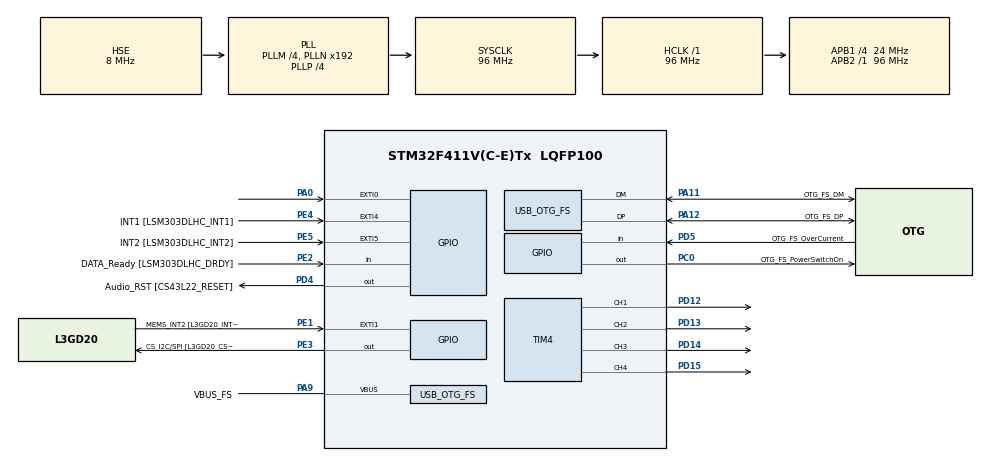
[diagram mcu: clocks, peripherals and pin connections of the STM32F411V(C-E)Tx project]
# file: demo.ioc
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Mcu.Family=STM32F4
Mcu.Name=STM32F411V(C-E)Tx
Mcu.Package=LQFP100
NVIC.OTG_FS_IRQn=true\:0\:0\:false\:false\:true\:true\:true\:true
NVIC.PriorityGroup=NVIC_PRIORITYGROUP_0
PA0-WKUP.GPIO_ModeDefaultEXTI=GPIO_MODE_EVT_RISING
PA0-WKUP.Signal=GPXTI0
PA10.GPIO_Label=OTG_FS_ID
PA10.Signal=USB_OTG_FS_ID
PA11.GPIO_Label=OTG_FS_DM
PA11.Mode=Host_Only
PA11.Signal=USB_OTG_FS_DM
PA12.GPIO_Label=OTG_FS_DP
PA12.Mode=Host_Only
PA12.Signal=USB_OTG_FS_DP
PA13.GPIO_Label=SWDIO
PA13.Mode=Serial_Wire
PA13.Signal=SYS_JTMS-SWDIO
PA14.GPIO_Label=SWCLK
PA14.Mode=Serial_Wire
PA14.Signal=SYS_JTCK-SWCLK
PA4.GPIO_Label=I2S3_WS [CS43L22_LRCK]
PA4.GPIO_Mode=GPIO_MODE_AF_PP
PA4.GPIO_PuPd=GPIO_NOPULL
PA4.GPIO_Speed=GPIO_SPEED_FREQ_LOW
PA4.Signal=I2S3_WS
PA5.GPIO_Label=SPI1_SCK [L3GD20_SC/SPC]
PA5.Signal=SPI1_SCK
PA6.GPIO_Label=SPI1_MISO [L3GD20_AS0/SDO]
PA6.Signal=SPI1_MISO
PA7.GPIO_Label=SPI1_MOSI [L3GD20_SDA/SDI/SDO]
PA7.Signal=SPI1_MOSI
PA9.GPIO_Label=VBUS_FS
PA9.Mode=Activate_VBUS
PA9.Signal=USB_OTG_FS_VBUS
PB10.GPIO_Label=CLK_IN [MP45DT02_CLK]
PB10.Signal=I2S2_CK
PB12.Signal=I2S2_WS
PB3.GPIO_Label=SWO
PB3.Signal=SYS_JTDO-SWO
PB6.GPIO_Label=Audio_SCL [CS43L22_SCL]
PB6.GPIO_Mode=GPIO_MODE_AF_OD
PB6.GPIO_Pu=GPIO_PULLUP
PB6.GPIO_PuPd=GPIO_NOPULL
PB6.GPIO_Speed=GPIO_SPEED_FREQ_LOW
PB6.Signal=I2C1_SCL
PB9.GPIO_Label=Audio_SDA [CS43L22_SDA]
PB9.GPIO_Mode=GPIO_MODE_AF_OD
PB9.GPIO_Pu=GPIO_PULLUP
PB9.GPIO_PuPd=GPIO_NOPULL
PB9.GPIO_Speed=GPIO_SPEED_FREQ_LOW
PB9.Signal=I2C1_SDA
PC0.GPIO_Label=OTG_FS_PowerSwitchOn
PC0.PinState=GPIO_PIN_SET
PC0.Signal=GPIO_Output
PC10.GPIO_Label=I2S3_SCK [CS43L22_SCLK]
PC10.GPIO_Mode=GPIO_MODE_AF_PP
PC10.GPIO_PuPd=GPIO_NOPULL
PC10.GPIO_Speed=GPIO_SPEED_FREQ_LOW
PC10.Signal=I2S3_CK
PC12.GPIO_Label=I2S3_SD [CS43L22_SDIN]
PC12.GPIO_Mode=GPIO_MODE_AF_PP
PC12.GPIO_PuPd=GPIO_NOPULL
PC12.GPIO_Speed=GPIO_SPEED_FREQ_LOW
PC12.Signal=I2S3_SD
PC14-OSC32_IN.GPIO_Label=PC14-OSC32_IN
PC14-OSC32_IN.Mode=LSE-External-Oscillator
PC14-OSC32_IN.Signal=RCC_OSC32_IN
PC15-OSC32_OUT.GPIO_Label=PC15-OSC32_OUT
PC15-OSC32_OUT.Mode=LSE-External-Oscillator
PC15-OSC32_OUT.Signal=RCC_OSC32_OUT
PC3.GPIO_Label=PDM_OUT [MP45DT02_DOUT]
PC3.Signal=I2S2_SD
PC7.GPIO_Label=I2S3_MCK [CS43L22_MCLK]
PC7.GPIO_Mode=GPIO_MODE_AF_PP
PC7.GPIO_PuPd=GPIO_NOPULL
PC7.GPIO_Speed=GPIO_SPEED_FREQ_LOW
PC7.Signal=I2S3_MCK
PD12.Signal=S_TIM4_CH1
PD13.Signal=S_TIM4_CH2
PD14.Signal=S_TIM4_CH3
PD15.Signal=S_TIM4_CH4
PD4.GPIO_Label=Audio_RST [CS43L22_RESET]
PD4.Signal=GPIO_Output
PD5.GPIO_Label=OTG_FS_OverCurrent
PD5.Signal=GPIO_Input
PE1.GPIO_Label=MEMS_INT2 [L3GD20_INT2]
PE1.GPIO_ModeDefaultEXTI=GPIO_MODE_EVT_RISING
PE1.Signal=GPXTI1
PE2.GPIO_Label=DATA_Ready [LSM303DLHC_DRDY]
PE2.Signal=GPIO_Input
PE3.GPIO_Label=CS_I2C/SPI [L3GD20_CS_I2C/SPI]
PE3.Signal=GPIO_Output
PE4.GPIO_Label=INT1 [LSM303DLHC_INT1]
PE4.GPIO_ModeDefaultEXTI=GPIO_MODE_EVT_RISING
PE4.Signal=GPXTI4
PE5.GPIO_Label=INT2 [LSM303DLHC_INT2]
PE5.GPIO_ModeDefaultEXTI=GPIO_MODE_EVT_RISING
PE5.Signal=GPXTI5
PH0\ -\ OSC_IN.GPIO_Label=PH0-OSC_IN
PH0\ -\ OSC_IN.Mode=HSE-External-Oscillator
PH0\ -\ OSC_IN.Signal=RCC_OSC_IN
PH1\ -\ OSC_OUT.GPIO_Label=PH1-OSC_OUT
PH1\ -\ OSC_OUT.Mode=HSE-External-Oscillator
PH1\ -\ OSC_OUT.Signal=RCC_OSC_OUT
ProjectManager.HeapSize=0x200
ProjectManager.StackSize=0x400
ProjectManager.TargetToolchain=STM32CubeIDE
RCC.48MHZClocksFreq_Value=48000000
RCC.AHBFreq_Value=96000000
RCC.APB1CLKDivider=RCC_HCLK_DIV4
RCC.APB1Freq_Value=24000000
RCC.APB1TimFreq_Value=48000000
RCC.APB2Freq_Value=96000000
RCC.APB2TimFreq_Value=96000000
RCC.CortexFreq_Value=96000000
RCC.HCLKFreq_Value=96000000
RCC.HSE_VALUE=8000000
RCC.HSI_VALUE=16000000
RCC.PLLI2SM=5
RCC.PLLI2SN=200
RCC.PLLM=4
RCC.PLLP=RCC_PLLP_DIV4
RCC.PLLQ=8
RCC.SYSCLKFreq_VALUE=96000000
RCC.SYSCLKSource=RCC_SYSCLKSOURCE_PLLCLK
RCC.VCOOutputFreq_Value=384000000
SH.S_TIM4_CH1.0=TIM4_CH1,PWM Generation1 CH1
SH.S_TIM4_CH2.0=TIM4_CH2,PWM Generation2 CH2
SH.S_TIM4_CH3.0=TIM4_CH3,PWM Generation3 CH3
SH.S_TIM4_CH4.0=TIM4_CH4,PWM Generation4 CH4
TIM4.Channel-PWM\ Generation1\ CH1=TIM_CHANNEL_1
TIM4.Channel-PWM\ Generation2\ CH2=TIM_CHANNEL_2
TIM4.Channel-PWM\ Generation3\ CH3=TIM_CHANNEL_3
TIM4.Channel-PWM\ Generation4\ CH4=TIM_CHANNEL_4
USB_HOST.BSP.number=1
USB_HOST.USBH_HandleTypeDef=hUsbHostFS
USB_HOST.VirtualModeFS=Cdc
USB_HOST0.BSP.STBoard=false
USB_HOST0.BSP.api=Unknown
USB_HOST0.BSP.instance=PC0
USB_HOST0.BSP.ip=GPIO
USB_HOST0.BSP.mode=Output
USB_HOST0.BSP.name=Drive_VBUS_FS
USB_HOST0.BSP.solution=PC0
USB_OTG_FS.VirtualMode=Host_Only
USB_OTG_FS.phy_itface=HCD_PHY_EMBEDDED
VP_USB_HOST_VS_USB_HOST_CDC_FS.Mode=CDC_FS
board=STM32F411E-DISCO

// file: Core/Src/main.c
/* USER CODE BEGIN Header */
/**
  ******************************************************************************
  * @file           : main.c
  * @brief          : Main program body
  ******************************************************************************
  * @attention
  *
  * Copyright (c) 2025 STMicroelectronics.
  * All rights reserved.
  *
  * This software is licensed under terms that can be found in the LICENSE file
  * in the root directory of this software component.
  * If no LICENSE file comes with this software, it is provided AS-IS.
  *
  ******************************************************************************
  */
/* USER CODE END Header */
#include "main.h"
#include "usb_host.h"

TIM_HandleTypeDef htim4;

void SystemClock_Config(void);
static void MX_GPIO_Init(void);
static void MX_TIM4_Init(void);
void MX_USB_HOST_Process(void);

int main(void)
{

  /* MCU Configuration--------------------------------------------------------*/

  /* Reset of all peripherals, Initializes the Flash interface and the Systick. */
  HAL_Init();

  /* Configure the system clock */
  SystemClock_Config();

  /* Initialize all configured peripherals */
  MX_GPIO_Init();
  MX_USB_HOST_Init();
  MX_TIM4_Init();
  /* USER CODE BEGIN 2 */

  HAL_TIM_PWM_Start(&htim4, TIM_CHANNEL_1);
  HAL_TIM_PWM_Start(&htim4, TIM_CHANNEL_2);
  HAL_TIM_PWM_Start(&htim4, TIM_CHANNEL_3);
  HAL_TIM_PWM_Start(&htim4, TIM_CHANNEL_4);

  /* USER CODE END 2 */

  /* Infinite loop */
  /* USER CODE BEGIN WHILE */
  while (1)
  {
	    MX_USB_HOST_Process();
//	    HAL_GPIO_TogglePin(GPIOD, LD4_Pin|LD5_Pin|LD6_Pin|LD3_Pin);
//	    HAL_GPIO_WritePin(GPIOD, LD4_Pin, 0);
//	    HAL_GPIO_WritePin(GPIOD, LD3_Pin, 1);
//	    HAL_Delay(70);
//	    HAL_GPIO_WritePin(GPIOD, LD3_Pin, 0);
//	    HAL_GPIO_WritePin(GPIOD, LD5_Pin, 1);
//	    HAL_Delay(70);
//	    HAL_GPIO_WritePin(GPIOD, LD5_Pin, 0);
//	    HAL_GPIO_WritePin(GPIOD, LD6_Pin, 1);
//	    HAL_Delay(70);
//	    HAL_GPIO_WritePin(GPIOD, LD6_Pin, 0);
//	    HAL_GPIO_WritePin(GPIOD, LD4_Pin, 1);
//	    HAL_Delay(70);
	    for(int D=0; D<=100; D++)
	    {
	    	__HAL_TIM_SET_COMPARE(&htim4, TIM_CHANNEL_1, D*400);
	    	__HAL_TIM_SET_COMPARE(&htim4, TIM_CHANNEL_4, (100-D)*400);
	    	HAL_Delay(1);
	    }
	    for(int D=0; D<=100; D++)
	    {
	    	__HAL_TIM_SET_COMPARE(&htim4, TIM_CHANNEL_2, D*400);
	    	__HAL_TIM_SET_COMPARE(&htim4, TIM_CHANNEL_1, (100-D)*400);

	    	HAL_Delay(1);
	    }
	    for(int D=0; D<=100; D++)
	    {
	    	__HAL_TIM_SET_COMPARE(&htim4, TIM_CHANNEL_3, D*400);
	    	__HAL_TIM_SET_COMPARE(&htim4, TIM_CHANNEL_2, (100-D)*400);

	    	HAL_Delay(1);
	    }
	    for(int D=0; D<=100; D++)
	    {
	    	__HAL_TIM_SET_COMPARE(&htim4, TIM_CHANNEL_4, D*400);
	    	__HAL_TIM_SET_COMPARE(&htim4, TIM_CHANNEL_3, (100-D)*400);

	    	HAL_Delay(1);
	    }
//	    for(int D=100; D>=0; D--)
//	    {
//	    	__HAL_TIM_SET_COMPARE(&htim4, TIM_CHANNEL_3, D*400);
//	    	HAL_Delay(10);
//	    }
    /* USER CODE END WHILE */
    MX_USB_HOST_Process();

  }
}

void SystemClock_Config(void)
{
  RCC_OscInitTypeDef RCC_OscInitStruct = {0};
  RCC_ClkInitTypeDef RCC_ClkInitStruct = {0};

  /** Configure the main internal regulator output voltage
  */
  __HAL_RCC_PWR_CLK_ENABLE();
  __HAL_PWR_VOLTAGESCALING_CONFIG(PWR_REGULATOR_VOLTAGE_SCALE1);

  /** Initializes the RCC Oscillators according to the specified parameters
  * in the RCC_OscInitTypeDef structure.
  */
  RCC_OscInitStruct.OscillatorType = RCC_OSCILLATORTYPE_HSE;
  RCC_OscInitStruct.HSEState = RCC_HSE_ON;
  RCC_OscInitStruct.PLL.PLLState = RCC_PLL_ON;
  RCC_OscInitStruct.PLL.PLLSource = RCC_PLLSOURCE_HSE;
  RCC_OscInitStruct.PLL.PLLM = 4;
  RCC_OscInitStruct.PLL.PLLN = 192;
  RCC_OscInitStruct.PLL.PLLP = RCC_PLLP_DIV4;
  RCC_OscInitStruct.PLL.PLLQ = 8;
  if (HAL_RCC_OscConfig(&RCC_OscInitStruct) != HAL_OK)
  {
    Error_Handler();
  }

  /** Initializes the CPU, AHB and APB buses clocks
  */
  RCC_ClkInitStruct.ClockType = RCC_CLOCKTYPE_HCLK|RCC_CLOCKTYPE_SYSCLK
                              |RCC_CLOCKTYPE_PCLK1|RCC_CLOCKTYPE_PCLK2;
  RCC_ClkInitStruct.SYSCLKSource = RCC_SYSCLKSOURCE_PLLCLK;
  RCC_ClkInitStruct.AHBCLKDivider = RCC_SYSCLK_DIV1;
  RCC_ClkInitStruct.APB1CLKDivider = RCC_HCLK_DIV4;
  RCC_ClkInitStruct.APB2CLKDivider = RCC_HCLK_DIV1;

  if (HAL_RCC_ClockConfig(&RCC_ClkInitStruct, FLASH_LATENCY_3) != HAL_OK)
  {
    Error_Handler();
  }
}

static void MX_TIM4_Init(void)
{

  TIM_MasterConfigTypeDef sMasterConfig = {0};
  TIM_OC_InitTypeDef sConfigOC = {0};

  htim4.Instance = TIM4;
  htim4.Init.Prescaler = 0;
  htim4.Init.CounterMode = TIM_COUNTERMODE_UP;
  htim4.Init.Period = 65535;
  htim4.Init.ClockDivision = TIM_CLOCKDIVISION_DIV1;
  htim4.Init.AutoReloadPreload = TIM_AUTORELOAD_PRELOAD_DISABLE;
  if (HAL_TIM_PWM_Init(&htim4) != HAL_OK)
  {
    Error_Handler();
  }
  sMasterConfig.MasterOutputTrigger = TIM_TRGO_RESET;
  sMasterConfig.MasterSlaveMode = TIM_MASTERSLAVEMODE_DISABLE;
  if (HAL_TIMEx_MasterConfigSynchronization(&htim4, &sMasterConfig) != HAL_OK)
  {
    Error_Handler();
  }
  sConfigOC.OCMode = TIM_OCMODE_PWM1;
  sConfigOC.Pulse = 0;
  sConfigOC.OCPolarity = TIM_OCPOLARITY_HIGH;
  sConfigOC.OCFastMode = TIM_OCFAST_DISABLE;
  if (HAL_TIM_PWM_ConfigChannel(&htim4, &sConfigOC, TIM_CHANNEL_1) != HAL_OK)
  {
    Error_Handler();
  }
  if (HAL_TIM_PWM_ConfigChannel(&htim4, &sConfigOC, TIM_CHANNEL_2) != HAL_OK)
  {
    Error_Handler();
  }
  if (HAL_TIM_PWM_ConfigChannel(&htim4, &sConfigOC, TIM_CHANNEL_3) != HAL_OK)
  {
    Error_Handler();
  }
  if (HAL_TIM_PWM_ConfigChannel(&htim4, &sConfigOC, TIM_CHANNEL_4) != HAL_OK)
  {
    Error_Handler();
  }
  HAL_TIM_MspPostInit(&htim4);

}

static void MX_GPIO_Init(void)
{
  GPIO_InitTypeDef GPIO_InitStruct = {0};

  /* GPIO Ports Clock Enable */
  __HAL_RCC_GPIOE_CLK_ENABLE();
  __HAL_RCC_GPIOC_CLK_ENABLE();
  __HAL_RCC_GPIOH_CLK_ENABLE();
  __HAL_RCC_GPIOA_CLK_ENABLE();
  __HAL_RCC_GPIOB_CLK_ENABLE();
  __HAL_RCC_GPIOD_CLK_ENABLE();

  /*Configure GPIO pin Output Level */
  HAL_GPIO_WritePin(CS_I2C_SPI_GPIO_Port, CS_I2C_SPI_Pin, GPIO_PIN_RESET);

  /*Configure GPIO pin Output Level */
  HAL_GPIO_WritePin(OTG_FS_PowerSwitchOn_GPIO_Port, OTG_FS_PowerSwitchOn_Pin, GPIO_PIN_SET);

  /*Configure GPIO pin Output Level */
  HAL_GPIO_WritePin(Audio_RST_GPIO_Port, Audio_RST_Pin, GPIO_PIN_RESET);

  /*Configure GPIO pin : DATA_Ready_Pin */
  GPIO_InitStruct.Pin = DATA_Ready_Pin;
  GPIO_InitStruct.Mode = GPIO_MODE_INPUT;
  GPIO_InitStruct.Pull = GPIO_NOPULL;
  HAL_GPIO_Init(DATA_Ready_GPIO_Port, &GPIO_InitStruct);

  /*Configure GPIO pin : CS_I2C_SPI_Pin */
  GPIO_InitStruct.Pin = CS_I2C_SPI_Pin;
  GPIO_InitStruct.Mode = GPIO_MODE_OUTPUT_PP;
  GPIO_InitStruct.Pull = GPIO_NOPULL;
  GPIO_InitStruct.Speed = GPIO_SPEED_FREQ_LOW;
  HAL_GPIO_Init(CS_I2C_SPI_GPIO_Port, &GPIO_InitStruct);

  /*Configure GPIO pins : INT1_Pin INT2_Pin MEMS_INT2_Pin */
  GPIO_InitStruct.Pin = INT1_Pin|INT2_Pin|MEMS_INT2_Pin;
  GPIO_InitStruct.Mode = GPIO_MODE_EVT_RISING;
  GPIO_InitStruct.Pull = GPIO_NOPULL;
  HAL_GPIO_Init(GPIOE, &GPIO_InitStruct);

  /*Configure GPIO pin : OTG_FS_PowerSwitchOn_Pin */
  GPIO_InitStruct.Pin = OTG_FS_PowerSwitchOn_Pin;
  GPIO_InitStruct.Mode = GPIO_MODE_OUTPUT_PP;
  GPIO_InitStruct.Pull = GPIO_NOPULL;
  GPIO_InitStruct.Speed = GPIO_SPEED_FREQ_LOW;
  HAL_GPIO_Init(OTG_FS_PowerSwitchOn_GPIO_Port, &GPIO_InitStruct);

  /*Configure GPIO pin : PDM_OUT_Pin */
  GPIO_InitStruct.Pin = PDM_OUT_Pin;
  GPIO_InitStruct.Mode = GPIO_MODE_AF_PP;
  GPIO_InitStruct.Pull = GPIO_NOPULL;
  GPIO_InitStruct.Speed = GPIO_SPEED_FREQ_LOW;
  GPIO_InitStruct.Alternate = GPIO_AF5_SPI2;
  HAL_GPIO_Init(PDM_OUT_GPIO_Port, &GPIO_InitStruct);

  /*Configure GPIO pin : PA0 */
  GPIO_InitStruct.Pin = GPIO_PIN_0;
  GPIO_InitStruct.Mode = GPIO_MODE_EVT_RISING;
  GPIO_InitStruct.Pull = GPIO_NOPULL;
  HAL_GPIO_Init(GPIOA, &GPIO_InitStruct);

  /*Configure GPIO pin : I2S3_WS_Pin */
  GPIO_InitStruct.Pin = I2S3_WS_Pin;
  GPIO_InitStruct.Mode = GPIO_MODE_AF_PP;
  GPIO_InitStruct.Pull = GPIO_NOPULL;
  GPIO_InitStruct.Speed = GPIO_SPEED_FREQ_LOW;
  GPIO_InitStruct.Alternate = GPIO_AF6_SPI3;
  HAL_GPIO_Init(I2S3_WS_GPIO_Port, &GPIO_InitStruct);

  /*Configure GPIO pins : SPI1_SCK_Pin SPI1_MISO_Pin SPI1_MOSI_Pin */
  GPIO_InitStruct.Pin = SPI1_SCK_Pin|SPI1_MISO_Pin|SPI1_MOSI_Pin;
  GPIO_InitStruct.Mode = GPIO_MODE_AF_PP;
  GPIO_InitStruct.Pull = GPIO_NOPULL;
  GPIO_InitStruct.Speed = GPIO_SPEED_FREQ_VERY_HIGH;
  GPIO_InitStruct.Alternate = GPIO_AF5_SPI1;
  HAL_GPIO_Init(GPIOA, &GPIO_InitStruct);

  /*Configure GPIO pins : CLK_IN_Pin PB12 */
  GPIO_InitStruct.Pin = CLK_IN_Pin|GPIO_PIN_12;
  GPIO_InitStruct.Mode = GPIO_MODE_AF_PP;
  GPIO_InitStruct.Pull = GPIO_NOPULL;
  GPIO_InitStruct.Speed = GPIO_SPEED_FREQ_LOW;
  GPIO_InitStruct.Alternate = GPIO_AF5_SPI2;
  HAL_GPIO_Init(GPIOB, &GPIO_InitStruct);

  /*Configure GPIO pins : I2S3_MCK_Pin I2S3_SCK_Pin I2S3_SD_Pin */
  GPIO_InitStruct.Pin = I2S3_MCK_Pin|I2S3_SCK_Pin|I2S3_SD_Pin;
  GPIO_InitStruct.Mode = GPIO_MODE_AF_PP;
  GPIO_InitStruct.Pull = GPIO_NOPULL;
  GPIO_InitStruct.Speed = GPIO_SPEED_FREQ_LOW;
  GPIO_InitStruct.Alternate = GPIO_AF6_SPI3;
  HAL_GPIO_Init(GPIOC, &GPIO_InitStruct);

  /*Configure GPIO pin : Audio_RST_Pin */
  GPIO_InitStruct.Pin = Audio_RST_Pin;
  GPIO_InitStruct.Mode = GPIO_MODE_OUTPUT_PP;
  GPIO_InitStruct.Pull = GPIO_NOPULL;
  GPIO_InitStruct.Speed = GPIO_SPEED_FREQ_LOW;
  HAL_GPIO_Init(Audio_RST_GPIO_Port, &GPIO_InitStruct);

  /*Configure GPIO pin : OTG_FS_OverCurrent_Pin */
  GPIO_InitStruct.Pin = OTG_FS_OverCurrent_Pin;
  GPIO_InitStruct.Mode = GPIO_MODE_INPUT;
  GPIO_InitStruct.Pull = GPIO_NOPULL;
  HAL_GPIO_Init(OTG_FS_OverCurrent_GPIO_Port, &GPIO_InitStruct);

  /*Configure GPIO pins : Audio_SCL_Pin Audio_SDA_Pin */
  GPIO_InitStruct.Pin = Audio_SCL_Pin|Audio_SDA_Pin;
  GPIO_InitStruct.Mode = GPIO_MODE_AF_OD;
  GPIO_InitStruct.Pull = GPIO_PULLUP;
  GPIO_InitStruct.Speed = GPIO_SPEED_FREQ_LOW;
  GPIO_InitStruct.Alternate = GPIO_AF4_I2C1;
  HAL_GPIO_Init(GPIOB, &GPIO_InitStruct);

}

void Error_Handler(void)
{
  __disable_irq();
  while (1)
  {
  }
}
